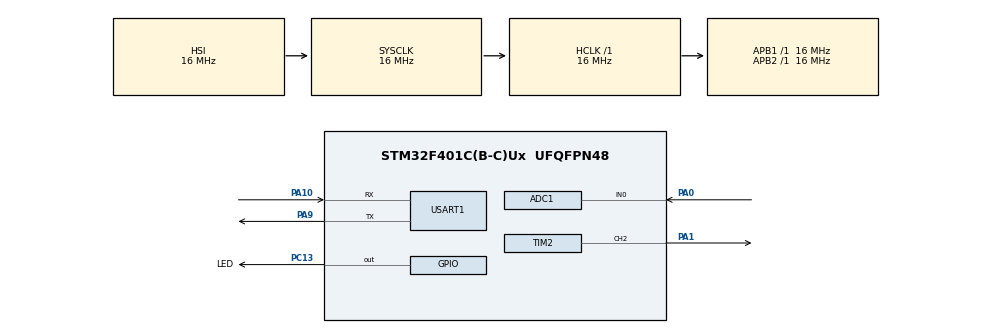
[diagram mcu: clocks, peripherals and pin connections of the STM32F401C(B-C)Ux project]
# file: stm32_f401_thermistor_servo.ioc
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ADC1.NbrOfConversionFlag=1
ADC1.SamplingTime-0\#ChannelRegularConversion=ADC_SAMPLETIME_144CYCLES
ADC1.master=1
Mcu.Family=STM32F4
Mcu.Name=STM32F401C(B-C)Ux
Mcu.Package=UFQFPN48
NVIC.PriorityGroup=NVIC_PRIORITYGROUP_4
PA0-WKUP.Signal=ADCx_IN0
PA1.Signal=S_TIM2_CH2
PA10.Mode=Asynchronous
PA10.Signal=USART1_RX
PA13.Mode=Serial_Wire
PA13.Signal=SYS_JTMS-SWDIO
PA14.Mode=Serial_Wire
PA14.Signal=SYS_JTCK-SWCLK
PA9.Mode=Asynchronous
PA9.Signal=USART1_TX
PC13-ANTI_TAMP.GPIO_Label=LED
PC13-ANTI_TAMP.Signal=GPIO_Output
ProjectManager.HeapSize=0x200
ProjectManager.StackSize=0x400
ProjectManager.TargetToolchain=STM32CubeIDE
RCC.AHBFreq_Value=16000000
RCC.APB1Freq_Value=16000000
RCC.APB2Freq_Value=16000000
RCC.CortexFreq_Value=16000000
RCC.HSE_VALUE=25000000
RCC.HSI_VALUE=16000000
RCC.LSE_VALUE=32768
RCC.SYSCLKFreq_VALUE=16000000
RCC.VCOOutputFreq_Value=192000000
SH.ADCx_IN0.0=ADC1_IN0,IN0
SH.S_TIM2_CH2.0=TIM2_CH2,PWM Generation2 CH2
TIM2.Channel-PWM\ Generation2\ CH2=TIM_CHANNEL_2
TIM2.Period=19999
TIM2.Prescaler=15
USART1.VirtualMode=VM_ASYNC
board=custom

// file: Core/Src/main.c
/* USER CODE BEGIN Header */
/**
  ******************************************************************************
  * @file           : main.c
  * @brief          : Main program body
  ******************************************************************************
  * @attention
  *
  * Copyright (c) 2026 STMicroelectronics.
  * All rights reserved.
  *
  * This software is licensed under terms that can be found in the LICENSE file
  * in the root directory of this software component.
  * If no LICENSE file comes with this software, it is provided AS-IS.
  *
  ******************************************************************************
  */
/* USER CODE END Header */
#include "main.h"
#include "adc.h"
#include "tim.h"
#include "usart.h"
#include "gpio.h"

/* USER CODE BEGIN Includes */
#include <string.h>
#include <stdio.h>
#include "thermistor.h"
#include "servo.h"
#include "control.h"
#include "pid.h"
/* USER CODE END Includes */

void SystemClock_Config(void);

int main(void)
{

  /* MCU Configuration--------------------------------------------------------*/

  /* Reset of all peripherals, Initializes the Flash interface and the Systick. */
  HAL_Init();

  /* Configure the system clock */
  SystemClock_Config();

  /* Initialize all configured peripherals */
  MX_GPIO_Init();
  MX_USART1_UART_Init();
  MX_ADC1_Init();
  MX_TIM2_Init();
  /* USER CODE BEGIN 2 */
  char header[] = "time_ms,target_temp,temp_norm,error,controller_output,servo_angle,adc_raw,adc_filtered\r\n";
  HAL_UART_Transmit(&huart1, (uint8_t*)header, strlen(header), HAL_MAX_DELAY);

  const float TEMP_TARGET_NORM = 0.53f;
  const float EMERGENCY_TEMP_NORM = 0.62f;

  const float SERVO_NEAR_ANGLE = 10.0f;
  const float SERVO_AWAY_ANGLE = 170.0f;
  const float SERVO_RANGE = SERVO_AWAY_ANGLE - SERVO_NEAR_ANGLE;

  const float CONTROL_DT_SEC = 0.2f;

  Thermistor_t thermistor;

  uint32_t initial_adc = Thermistor_ReadAdcRaw(&hadc1);
  Thermistor_Init(&thermistor, (float)initial_adc, 0.25f);

  Servo_t servo;

  Servo_Init(
      &servo,
      &htim2,
      TIM_CHANNEL_2,
      0.0f,
      180.0f,
      500.0f,
      2500.0f
  );

  Servo_Start(&servo);

  PID_t pid;

  PID_Init(
      &pid,
      1200.0f,       // Kp
      5.0f,         // Ki
      0.0f,         // Kd
      0.0f,         // output_min
      SERVO_RANGE,  // output_max
      -1.0f,        // integral_min
      1.0f          // integral_max
  );

  ThresholdControl_t threshold_control;
  ThresholdControl_Init(
      &threshold_control,
      0.53f,   // temp_high
      0.50f,   // temp_low
      10.0f,   // servo_near_angle
      170.0f   // servo_away_angle
  );

  Servo_SetAngle(&servo, 10.0f);

  /* USER CODE END 2 */

  /* Infinite loop */
  while (1)
  {

    /* USER CODE BEGIN 3 */

	  uint32_t time_ms = HAL_GetTick();

	  uint32_t adc_raw = Thermistor_ReadAdcRaw(&hadc1);
	  float adc_filtered = Thermistor_UpdateFilter(&thermistor, adc_raw);
	  float temp_norm = Thermistor_GetTempNorm(adc_filtered);

	  float error = temp_norm - TEMP_TARGET_NORM;

	  float controller_output = PID_Update(&pid, error, CONTROL_DT_SEC);

	  float servo_angle = SERVO_NEAR_ANGLE + controller_output;
	  uint8_t emergency_state = 0;

	  /*
	   * Emergency override:
	   * If temperature is clearly too high, move away immediately.
	   */
	  if (temp_norm > EMERGENCY_TEMP_NORM)
	  {
	      servo_angle = SERVO_AWAY_ANGLE;
	      controller_output = SERVO_RANGE;
	      emergency_state = 1;
	  }

	  Servo_SetAngle(&servo, servo_angle);

	  char msg[180];

	  snprintf(
	      msg,
	      sizeof(msg),
	      "%lu,%.4f,%.4f,%.4f,%.2f,%.2f,%u,%lu,%.2f\r\n",
	      time_ms,
	      TEMP_TARGET_NORM,
	      temp_norm,
	      error,
	      controller_output,
	      servo_angle,
	      emergency_state,
	      adc_raw,
	      adc_filtered
	  );

	  HAL_UART_Transmit(&huart1, (uint8_t*)msg, strlen(msg), HAL_MAX_DELAY);

	  HAL_GPIO_TogglePin(GPIOC, GPIO_PIN_13);
	  HAL_Delay(50);
  }
  /* USER CODE END 3 */
}

void SystemClock_Config(void)
{
  RCC_OscInitTypeDef RCC_OscInitStruct = {0};
  RCC_ClkInitTypeDef RCC_ClkInitStruct = {0};

  /** Configure the main internal regulator output voltage
  */
  __HAL_RCC_PWR_CLK_ENABLE();
  __HAL_PWR_VOLTAGESCALING_CONFIG(PWR_REGULATOR_VOLTAGE_SCALE2);

  /** Initializes the RCC Oscillators according to the specified parameters
  * in the RCC_OscInitTypeDef structure.
  */
  RCC_OscInitStruct.OscillatorType = RCC_OSCILLATORTYPE_HSI;
  RCC_OscInitStruct.HSIState = RCC_HSI_ON;
  RCC_OscInitStruct.HSICalibrationValue = RCC_HSICALIBRATION_DEFAULT;
  RCC_OscInitStruct.PLL.PLLState = RCC_PLL_NONE;
  if (HAL_RCC_OscConfig(&RCC_OscInitStruct) != HAL_OK)
  {
    Error_Handler();
  }

  /** Initializes the CPU, AHB and APB buses clocks
  */
  RCC_ClkInitStruct.ClockType = RCC_CLOCKTYPE_HCLK|RCC_CLOCKTYPE_SYSCLK
                              |RCC_CLOCKTYPE_PCLK1|RCC_CLOCKTYPE_PCLK2;
  RCC_ClkInitStruct.SYSCLKSource = RCC_SYSCLKSOURCE_HSI;
  RCC_ClkInitStruct.AHBCLKDivider = RCC_SYSCLK_DIV1;
  RCC_ClkInitStruct.APB1CLKDivider = RCC_HCLK_DIV1;
  RCC_ClkInitStruct.APB2CLKDivider = RCC_HCLK_DIV1;

  if (HAL_RCC_ClockConfig(&RCC_ClkInitStruct, FLASH_LATENCY_0) != HAL_OK)
  {
    Error_Handler();
  }
}

void Error_Handler(void)
{
  __disable_irq();
  while (1)
  {
  }
}
